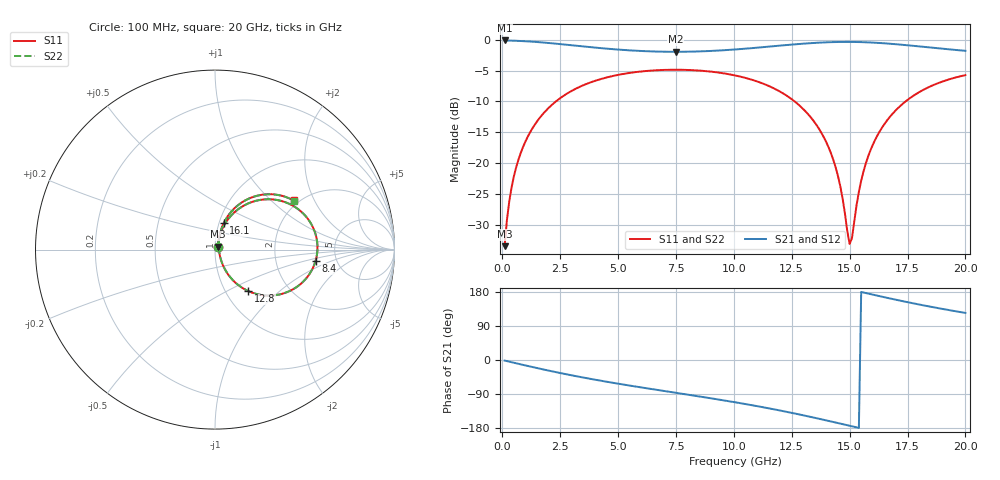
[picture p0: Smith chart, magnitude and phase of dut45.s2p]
! Touchstone file exported from HFSS 2026.1.0
!  File:  C:/ffzhzh/LocalFiles/Ansys_Project_Files/temp_train_TSV_RDL_45_1782966405_45748.aedt
!  Generated:  12:37:11 PM Jul  2, 2026
!  Design:  TSV_RDL
!  Project:  temp_train_TSV_RDL_45_1782966405_45748
! Variables:
!  h_bsmrdl = 5.96um
!  h_ox = 20um
!  h_rdl = 5um
!  h_sub = 68.96um
!  h_tmrdl = 5.22um
!  h_tsv = 68.96um
!  h_via = 3um
!  l_bsmrdl = 166.83um
!  l_sub = 3894.91um
!  l_tmrdl = 726.15um
!  m_sub = 200um
!  pitch = 57.48um
!  r_tsv = 14.73um
!  s_tmrdl = 10um
!  w_bsmrdl = 10.72um
!  w_sub = 500um
!  w_tmrdl = 19.22um
!  x_tsv_center1 = 735.76um
!  x_tsv_center2 = 913.31um
!  x_tsv_center3 = 1658.68um
!  x_tsv_center4 = 1836.23um
!  x_tsv_center5 = 2581.6um
!  x_tsv_center6 = 2759.15um
# GHz S MA R 50.000000
! Terminal data exported
! Port[1] = TM_RDL1_1_T1
! Port[2] = TM_RDL5_1_T1
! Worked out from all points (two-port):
!   200 points, 100 MHz to 20 GHz, reference 50 ohm
!   highest |S21| = -0.12 dB at 100 MHz (marker M1); lowest = -2.0 dB at 7.5 GHz (marker M2)
!   |S21| within 3 dB of the highest: start of sweep to end of sweep
!   lowest |S11| = -33.4 dB at 100 MHz (marker M3), VSWR 1.04, Z = 51.4 + j1.61 ohm
!   |S11| at or under -10 dB: start of sweep to 2.314 GHz; 12.63 GHz to 17.42 GHz (4.788 GHz wide, 31.9 % of centre)
!   |S22| runs from -33.4 to -4.9 dB; largest |S21 - S12| = 2.1e-14
!   S11 on the Smith chart (normalised r, x): 100 MHz: 1.03, +0.03; 8.4 GHz: 3.46, -0.63; 12.8 GHz: 1.27, -0.65; 16.1 GHz: 1.05, +0.32; 20 GHz: 1.88, +1.40
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0.1  0.0213 47.1  0.9858 -1.5  0.9858 -1.5  0.0213 47.1
! Gamma 0 0 0 0
! Port Impedance 50 0 50 0
0.3  0.04904 67.6  0.9838 -4.4  0.9838 -4.4  0.04904 67.6
0.5  0.07814 71.0  0.9812 -7.3  0.9812 -7.3  0.07814 71.0
1.1  0.1639 68.1  0.9692 -15.8  0.9692 -15.8  0.1639 68.1
2.1  0.292 56.9  0.9368 -29.3  0.9368 -29.3  0.292 56.9
3.5  0.4279 40.8  0.8817 -46.3  0.8817 -46.3  0.4279 40.8
6.8  0.5674 8.2  0.8004 -80.0  0.8004 -80.0  0.5674 8.2
7.5  0.5712 1.9  0.7978 -86.6  0.7978 -86.6  0.5712 1.9
8.4  0.5641 -6.3  0.8025 -95.1  0.8025 -95.1  0.5641 -6.3
10.1  0.5114 -22.5  0.8344 -112.0  0.8344 -112.0  0.5114 -22.4
12.8  0.2972 -51.2  0.9225 -143.3  0.9225 -143.3  0.2972 -51.1
13.4  0.2256 -57.6  0.9397 -151.3  0.9397 -151.3  0.2256 -57.5
14  0.1469 -62.6  0.9524 -159.5  0.9524 -159.5  0.147 -62.4
14.4  0.09207 -62.9  0.9576 -165.0  0.9576 -165.0  0.09219 -62.6
14.7  0.05145 -55.5  0.9595 -169.3  0.9595 -169.3  0.05167 -55.0
15  0.02219 -3.3  0.9596 -173.5  0.9596 -173.5  0.02271 -3.0
15.1  0.02467 30.8  0.9593 -174.9  0.9593 -174.9  0.02515 30.3
15.5  0.07226 70.5  0.9559 179.4  0.9559 179.4  0.07243 70.1
16.1  0.1544 71.8  0.9452 171.1  0.9452 171.1  0.1545 71.6
16.7  0.2325 66.6  0.929 163.0  0.929 163.0  0.2326 66.5
18.1  0.385 51.5  0.8787 145.2  0.8787 145.2  0.385 51.5
20  0.5163 32.0  0.8132 124.2  0.8132 124.2  0.5164 32.0
